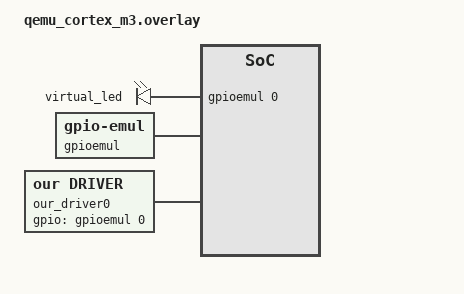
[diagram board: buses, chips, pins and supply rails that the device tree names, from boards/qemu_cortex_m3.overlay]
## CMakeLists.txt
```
cmake_minimum_required(VERSION 3.20.0)
list(APPEND BOARD_ROOT ${CMAKE_CURRENT_SOURCE_DIR})
find_package(Zephyr REQUIRED)
project(my_zephyr_app)
zephyr_include_directories(include)
target_sources(app PRIVATE src/main.cpp)
add_subdirectory(drivers/sensor)
```

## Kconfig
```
config APP_HEARTBEAT_PERIOD_MS
    int "LED Heartbeat in ms"
    default 500
    range 100 2000
    help
        Enter LED Heartbeat in ms 
        
menuconfig LED_SUBSYSTEM
    bool "LED Subsystem"
    default y

if LED_SUBSYSTEM
    choice
        prompt "LED blink sleep time"
        default BLINK_SLEEP_TIME_1000MS

        config BLINK_SLEEP_TIME_500MS
            bool "0.5s (fast)"

        config BLINK_SLEEP_TIME_1000MS
            bool "1s (medium)"

        config BLINK_SLEEP_TIME_2000MS
            bool "2s (slow)"

    endchoice 

    config BLINK_SLEEP_TIME_MS
        int
        default 500 if BLINK_SLEEP_TIME_500MS
        default 1000 if BLINK_SLEEP_TIME_1000MS
        default 2000 if BLINK_SLEEP_TIME_2000MS

    menuconfig ADVANCED_LED_SETTING
        bool "Advanced LED settings"
        default y

    if ADVANCED_LED_SETTING

        config LED_BRIGHTNESS
            int "LED brightness"
            default 100
            range 0 100
            help
                Enter the required LED brightness

        config LED_FADE_DURATION
            int "LED fade duration (ms)"
            default 500
            range 0 5000
            help
                Enter the required LED fade duration in ms

        menu "Expert settings"
            config LED_DEBUGGING
                bool "Enable LED debugging"
                default n

            config CUSTOM_BLINK_PATTERN
                bool "Custom blink pattern"
                default n

        endmenu

    endif # ADVANCED_LED_SETTING

endif # LED_SUBSYSTEM

source "Kconfig.zephyr"
rsource "drivers/sensor/Kconfig"
```

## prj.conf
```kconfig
CONFIG_GPIO=y
CONFIG_LOG=y
CONFIG_GPIO_EMUL=y
CONFIG_QEMU_ICOUNT=n
CONFIG_OUR_DRIVER=y
CONFIG_SENSOR=y
CONFIG_SHELL=y
CONFIG_DEVICE_SHELL=y
CONFIG_GPIO_SHELL=y
```

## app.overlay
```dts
/ {
	aliases {
		app-led = &virtual_led;
	};
	our_driver0: our_driver {
		compatible = "our,driver";
		gpios = <&gpioemul 0 GPIO_ACTIVE_HIGH>;
		status = "okay";
	};
};
```

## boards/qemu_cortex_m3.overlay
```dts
#include <zephyr/dt-bindings/gpio/gpio.h>
/ {
	aliases {
		led0 = &virtual_led;
		app-led = &virtual_led;
	};

	leds {
		compatible = "gpio-leds";
		virtual_led: led-0 {
			gpios = <&gpioemul 0 GPIO_ACTIVE_HIGH>;
		};
	};

	gpioemul: gpio-emul {
		compatible = "zephyr,gpio-emul";
		rising-edge;
		falling-edge;
		high-level;
		low-level;
		gpio-controller;
		#gpio-cells = <2>;
		status = "okay";
	};

	our_driver0: our_driver {
		compatible = "our,driver";
		gpios = <&gpioemul 0 GPIO_ACTIVE_HIGH>;
		status = "okay";
	};
};
```

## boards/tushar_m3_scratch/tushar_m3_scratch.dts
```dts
/dts-v1/;

#include <ti/lm3s6965.dtsi>

/ {
	model = "QEMU Cortex-m3";
	compatible = "ti,lm3s6965evb-qemu";

	chosen {
		zephyr,sram = &sram0;
		zephyr,flash = &flash0;
		zephyr,console = &uart0;
		zephyr,shell-uart = &uart0;
	};
};
&uart0 {
	status = "okay";
	current-speed = <115200>;
};

&uart1 {
	status = "okay";
	current-speed = <115200>;
};

&uart2 {
	status = "okay";
	current-speed = <115200>;
};
```

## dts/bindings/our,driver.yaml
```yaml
description: Our simple Driver 
compatible: "our,driver"
include: [sensor-device.yaml, base.yaml]
properties:
  gpios:
    type: phandle-array
    required: true
```

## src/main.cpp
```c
#include <zephyr/drivers/gpio.h>
#include <zephyr/kernel.h>
#include <zephyr/logging/log.h>
#include <zephyr/drivers/sensor.h>
#include <our_driver.h>

#define SLEEP_TIME_MS CONFIG_APP_HEARTBEAT_PERIOD_MS

/* The devicetree node identifier for the "led0" alias. */
#define LED_NODE DT_ALIAS(app_led)

static const struct gpio_dt_spec led = GPIO_DT_SPEC_GET(LED_NODE, gpios);

LOG_MODULE_REGISTER(main, LOG_LEVEL_INF);

namespace {
    void test() {
        const struct device* driver = DEVICE_DT_GET(DT_NODELABEL(our_driver0));
        struct sensor_value val;
        auto ret = sensor_channel_get(driver, SENSOR_CHAN_AMBIENT_TEMP, &val);
        LOG_INF("Channle ret : %d\n",ret); 
    }
}

int main(void)
{
    const struct device* driver = DEVICE_DT_GET(DT_NODELABEL(our_driver0));
    struct sensor_value val;
    if(!device_is_ready(driver))
    {
        LOG_INF("Driver is not ready to function");
        return 0;
    }
    // while(1) {
    //     auto ret = sensor_sample_fetch(driver);
    //     LOG_INF("fetch -> %d (LED ON)", ret);
    //     k_msleep(SLEEP_TIME_MS);
    //     ret = sensor_channel_get(driver, SENSOR_CHAN_ALL, &val);
    //     LOG_INF("get -> %d, was_on=%d (LED OFF)", ret, val.val1);
    //     k_msleep(SLEEP_TIME_MS);
    //     LOG_INF("You have exercised the extension API, now counter is : %d",our_driver_extension_api(driver));
    // }

    // test();
    // bool led_state = true;

    // if (!gpio_is_ready_dt(&led)) return 0;

    // if (gpio_pin_configure_dt(&led, GPIO_OUTPUT_ACTIVE) < 0) return 0;

    // while (1) {
    //     if (gpio_pin_toggle_dt(&led) < 0) return 0;

    //     led_state = !led_state;
    //     LOG_INF("LED state: %s", led_state ? "ON" : "OFF");
    //     k_msleep(SLEEP_TIME_MS);
    // }
    // return 0;
}
```

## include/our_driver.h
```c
#ifndef EXTENSION_HEADER_H_
#define EXTENSION_HEADER_H_
#include <zephyr/device.h>
#ifdef __cplusplus
extern "C" {
#endif

int our_driver_extension_api(const struct device *dev, int val);

#ifdef __cplusplus
}
#endif
#endif
```
